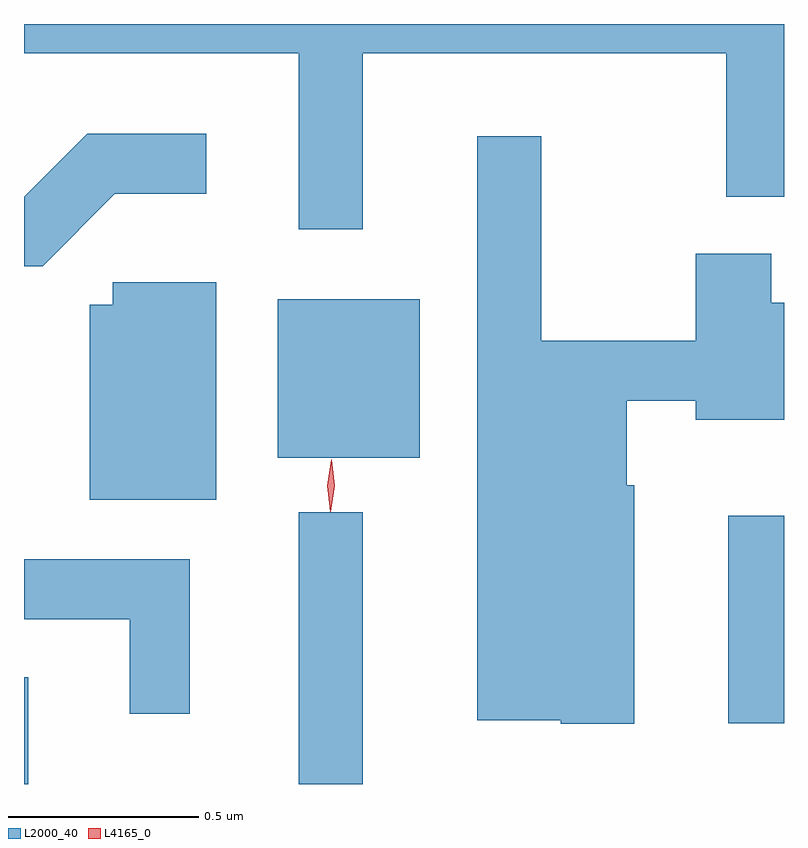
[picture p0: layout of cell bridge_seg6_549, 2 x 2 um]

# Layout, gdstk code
import gdstk
lib = gdstk.Library(unit=1e-6, precision=1e-09)
def R(c, l, rs):  # rectangles x0, y0, x1, y1
    for r in rs: c.add(gdstk.rectangle(r[:2], r[2:], *l))
def P(c, l, *ps):  # polygons
    for p in ps: c.add(gdstk.Polygon(p, *l))
L2000_40 = (2000, 40)
L4165_0 = (4165, 0)

bridge_seg6_549 = lib.new_cell('bridge_seg6_549')
R(bridge_seg6_549, L2000_40, [(541.708,1643.573,541.719,1643.854), (542.431,1643.573,542.599,1644.288), (543.561,1643.733,543.708,1644.279), (542.376,1644.431,542.749,1644.849)])
P(bridge_seg6_549, L2000_40, [(542.599,1645.496),(543.556,1645.496),(543.556,1645.118),(543.708,1645.118),(543.708,1645.573),(541.708,1645.573),(541.708,1645.496),(542.431,1645.496),(542.431,1645.033),(542.599,1645.033)],
  [(541.947,1645.126),(542.188,1645.126),(542.188,1645.284),(541.874,1645.284),(541.708,1645.118),(541.708,1644.936),(541.757,1644.936)],
  [(543.314,1644.359),(543.294,1644.359),(543.294,1644.581),(543.476,1644.581),(543.476,1644.531),(543.708,1644.531),(543.708,1644.839),(543.674,1644.839),(543.674,1644.969),(543.476,1644.969),(543.476,1644.739),(543.069,1644.739),(543.069,1645.278),(542.901,1645.278),(542.901,1643.741),(543.12,1643.741),(543.12,1643.731),(543.314,1643.731)],
  [(542.214,1644.894),(541.941,1644.894),(541.941,1644.834),(541.881,1644.834),(541.881,1644.321),(542.214,1644.321)],
  [(542.144,1644.164),(541.708,1644.164),(541.708,1644.006),(541.986,1644.006),(541.986,1643.758),(542.144,1643.758)])
P(bridge_seg6_549, L4165_0, [(542.514,1644.293),(542.506,1644.358),(542.516,1644.421),(542.517,1644.422),(542.518,1644.421),(542.526,1644.357),(542.515,1644.293),(542.515,1644.293)],
  [(542.514,1644.29),(542.506,1644.358),(542.516,1644.426),(542.517,1644.426),(542.518,1644.426),(542.526,1644.358),(542.515,1644.29),(542.515,1644.29)])

lib.write_gds('bridge_seg6_549.gds')
